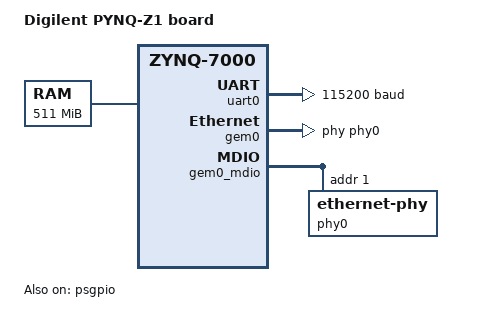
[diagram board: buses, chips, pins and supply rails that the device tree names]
/*
 * Copyright (c) 2026 Radu Pirea
 *
 * SPDX-License-Identifier: Apache-2.0
 */

/dts-v1/;
#include <xilinx/zynq7000.dtsi>

#include "pynq_z1-pinctrl.dtsi"

/ {
	model = "Digilent PYNQ-Z1 board";
	compatible = "digilent,zynq-pynq-z1", "xlnx,zynq-7000";

	chosen {
		zephyr,sram = &sram0;
		zephyr,console = &uart0;
		zephyr,shell-uart = &uart0;
		zephyr,ocm = &ocm_high;
	};

	cpus {
		#address-cells = <1>;
		#size-cells = <0>;

		cpu0: cpu@0 {
			device_type = "cpu";
			compatible = "arm,cortex-a9";
			reg = <0>;
		};

		cpu1: cpu@1 {
			device_type = "cpu";
			compatible = "arm,cortex-a9";
			reg = <1>;
		};
	};

	/* DDR from 1 MiB up: the first MiB is the on-chip memory */
	sram0: memory@100000 {
		compatible = "mmio-sram";
		reg = <0x00100000 DT_SIZE_M(511)>;
	};
};

&arch_timer {
	clock-frequency = <325000000>;
};

&uart0 {
	status = "okay";
	current-speed = <115200>;
	clock-frequency = <100000000>;
	pinctrl-0 = <&pinctrl_uart0_default>;
	pinctrl-names = "default";
};

&gem0 {
	status = "okay";
	clock-frequency = <1000000000>;
	phy-handle = <&phy0>;
	local-mac-address = [02 00 00 00 00 01];
};

&gem0_mdio {
	status = "okay";

	phy0: ethernet-phy@1 {
		compatible = "ethernet-phy";
		reg = <1>;
		status = "okay";
	};
};

&psgpio {
	status = "okay";
};
